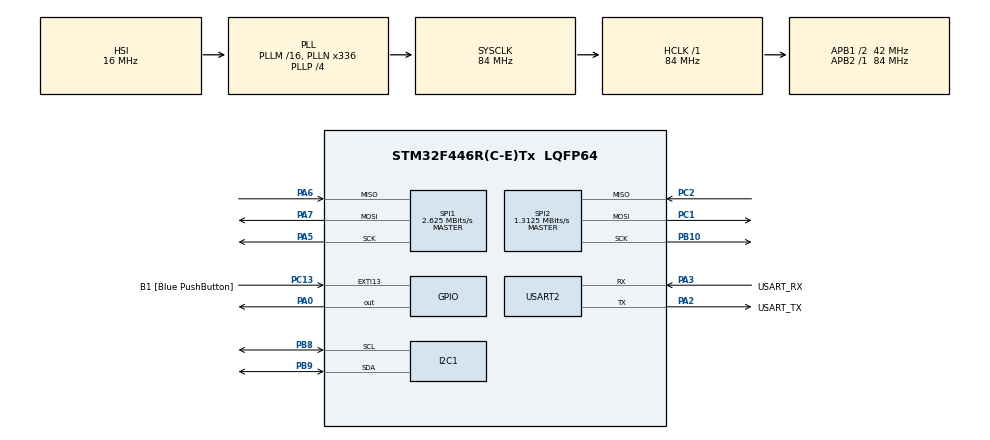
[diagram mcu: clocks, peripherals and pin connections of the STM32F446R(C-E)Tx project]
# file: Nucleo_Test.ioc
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Mcu.Family=STM32F4
Mcu.Name=STM32F446R(C-E)Tx
Mcu.Package=LQFP64
NVIC.EXTI15_10_IRQn=true\:0\:0\:false\:false\:true\:true\:true\:true
NVIC.PriorityGroup=NVIC_PRIORITYGROUP_0
PA0-WKUP.Signal=GPIO_Output
PA13.GPIO_Label=TMS
PA13.Mode=Serial_Wire
PA13.Signal=SYS_JTMS-SWDIO
PA14.GPIO_Label=TCK
PA14.Mode=Serial_Wire
PA14.Signal=SYS_JTCK-SWCLK
PA2.GPIO_Label=USART_TX
PA2.Mode=Asynchronous
PA2.Signal=USART2_TX
PA3.GPIO_Label=USART_RX
PA3.Mode=Asynchronous
PA3.Signal=USART2_RX
PA5.Mode=Full_Duplex_Master
PA5.Signal=SPI1_SCK
PA6.Mode=Full_Duplex_Master
PA6.Signal=SPI1_MISO
PA7.Mode=Full_Duplex_Master
PA7.Signal=SPI1_MOSI
PB10.Mode=Full_Duplex_Master
PB10.Signal=SPI2_SCK
PB3.GPIO_Label=SWO
PB3.Signal=SYS_JTDO-SWO
PB8.Mode=I2C
PB8.Signal=I2C1_SCL
PB9.Mode=I2C
PB9.Signal=I2C1_SDA
PC1.Mode=Full_Duplex_Master
PC1.Signal=SPI2_MOSI
PC13.GPIO_Label=B1 [Blue PushButton]
PC13.GPIO_ModeDefaultEXTI=GPIO_MODE_IT_FALLING
PC13.Signal=GPXTI13
PC14-OSC32_IN.Mode=LSE-External-Oscillator
PC14-OSC32_IN.Signal=RCC_OSC32_IN
PC15-OSC32_OUT.Mode=LSE-External-Oscillator
PC15-OSC32_OUT.Signal=RCC_OSC32_OUT
PC2.Mode=Full_Duplex_Master
PC2.Signal=SPI2_MISO
PH0-OSC_IN.Mode=HSE-External-Oscillator
PH0-OSC_IN.Signal=RCC_OSC_IN
PH1-OSC_OUT.Mode=HSE-External-Oscillator
PH1-OSC_OUT.Signal=RCC_OSC_OUT
ProjectManager.HeapSize=0x200
ProjectManager.StackSize=0x400
ProjectManager.TargetToolchain=STM32CubeIDE
RCC.48MHZClocksFreq_Value=84000000
RCC.AHBFreq_Value=84000000
RCC.APB1CLKDivider=RCC_HCLK_DIV2
RCC.APB1Freq_Value=42000000
RCC.APB1TimFreq_Value=84000000
RCC.APB2Freq_Value=84000000
RCC.APB2TimFreq_Value=84000000
RCC.CortexFreq_Value=84000000
RCC.FLatency-AdvancedSettings=FLASH_LATENCY_2
RCC.HCLKFreq_Value=84000000
RCC.HSE_VALUE=8000000
RCC.HSI_VALUE=16000000
RCC.PLLN=336
RCC.PLLP=RCC_PLLP_DIV4
RCC.SYSCLKFreq_VALUE=84000000
RCC.SYSCLKSource=RCC_SYSCLKSOURCE_PLLCLK
RCC.USBFreq_Value=168000000
RCC.VCOOutputFreq_Value=336000000
SPI1.BaudRatePrescaler=SPI_BAUDRATEPRESCALER_32
SPI1.CLKPhase=SPI_PHASE_2EDGE
SPI1.CLKPolarity=SPI_POLARITY_HIGH
SPI1.CalculateBaudRate=2.625 MBits/s
SPI1.Direction=SPI_DIRECTION_2LINES
SPI1.Mode=SPI_MODE_MASTER
SPI1.VirtualType=VM_MASTER
SPI2.BaudRatePrescaler=SPI_BAUDRATEPRESCALER_32
SPI2.CalculateBaudRate=1.3125 MBits/s
SPI2.Direction=SPI_DIRECTION_2LINES
SPI2.Mode=SPI_MODE_MASTER
SPI2.VirtualType=VM_MASTER
TIM2.AutoReloadPreload=TIM_AUTORELOAD_PRELOAD_ENABLE
TIM2.Period=255
USART2.VirtualMode=VM_ASYNC
VP_TIM2_VS_ClockSourceINT.Mode=Internal
board=NUCLEO-F446RE

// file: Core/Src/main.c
/* USER CODE BEGIN Header */
/**
  ******************************************************************************
  * @file           : main.c
  * @brief          : Main program body
  ******************************************************************************
  * @attention
  *
  * Copyright (c) 2025 STMicroelectronics.
  * All rights reserved.
  *
  * This software is licensed under terms that can be found in the LICENSE file
  * in the root directory of this software component.
  * If no LICENSE file comes with this software, it is provided AS-IS.
  *
  ******************************************************************************
  */
/* USER CODE END Header */
#include "main.h"

/* USER CODE BEGIN PD */
static const uint8_t CTRL1_XL = 0x10;
static const uint8_t CTRL3_C = 0x12;
static const uint8_t OUTL_TEMP = 0x20;
int state;

/* USER CODE END PD */

I2C_HandleTypeDef hi2c1;

SPI_HandleTypeDef hspi1;
SPI_HandleTypeDef hspi2;

TIM_HandleTypeDef htim2;

UART_HandleTypeDef huart2;

void SystemClock_Config(void);
static void MX_GPIO_Init(void);
static void MX_USART2_UART_Init(void);
static void MX_TIM2_Init(void);
static void MX_SPI2_Init(void);
static void MX_SPI1_Init(void);
static void MX_I2C1_Init(void);

/* USER CODE BEGIN 0 */
#define CS_PIN GPIO_PIN_0
#define CS_PORT GPIOA

void LSM6DS0_Write(uint8_t reg, uint8_t data) {
	HAL_GPIO_WritePin(CS_PORT, CS_PIN, GPIO_PIN_RESET);
    uint8_t buf[2] = {reg & 0x7F, data}; // MSB=0 → write
    HAL_SPI_Transmit(&hspi1, buf, 2, 100);
    HAL_GPIO_WritePin(CS_PORT, CS_PIN, GPIO_PIN_SET);
}

void LSM6DS0_Read(uint8_t reg, uint8_t* data, uint8_t len) {
    HAL_GPIO_WritePin(CS_PORT, CS_PIN, GPIO_PIN_RESET);

    uint8_t addr = reg | 0x80; // MSB=1 → read
    if(len > 1) addr |= 0x40;  // auto-increment
    HAL_SPI_Transmit(&hspi1, &addr, 1, HAL_MAX_DELAY);

    for(uint8_t i=0; i<len; i++) {
        uint8_t dummy = 0x00;
        HAL_SPI_TransmitReceive(&hspi1, &dummy, &data[i], 1, HAL_MAX_DELAY);
    }

    HAL_GPIO_WritePin(CS_PORT, CS_PIN, GPIO_PIN_SET);
}

int16_t LSM6DS0_ReadTemp(void) {
    uint8_t buf[2];
    LSM6DS0_Read(OUTL_TEMP, buf, 2);  // read 2 bytes
    return (int16_t)(buf[1] << 8 | buf[0]); // combine L/H bytes
}
/* USER CODE END 0 */

int main(void)
{

  /* USER CODE BEGIN 1 */
  char uart_buf[50];
  int uart_buf_len;
  char spi_buf[20];
  /* USER CODE END 1 */

  /* MCU Configuration--------------------------------------------------------*/

  /* Reset of all peripherals, Initializes the Flash interface and the Systick. */
  HAL_Init();

  /* Configure the system clock */
  SystemClock_Config();

  /* Initialize all configured peripherals */
  MX_GPIO_Init();
  MX_USART2_UART_Init();
  MX_TIM2_Init();
  MX_SPI2_Init();
  MX_SPI1_Init();
  MX_I2C1_Init();
  /* USER CODE BEGIN 2 */
  HAL_GPIO_WritePin(CS_PORT, CS_PIN, GPIO_PIN_SET);
  uart_buf_len = sprintf(uart_buf, "SPI Test\r\n");
  HAL_UART_Transmit(&huart2, uart_buf, uart_buf_len, 100);
  LSM6DS0_Write(CTRL3_C, 0x04);
  LSM6DS0_Write(CTRL1_XL, 0x20);

  /* USER CODE END 2 */

  /* Infinite loop */
  /* USER CODE BEGIN WHILE */
  while (1)
  {
	  uint8_t who_am_i;
	  LSM6DS0_Read(0x0F, &who_am_i, 1);
	  uart_buf_len = sprintf(uart_buf, "WHO_AM_I = 0x%02X\r\n", who_am_i);
	  HAL_UART_Transmit(&huart2, (uint8_t*)uart_buf, uart_buf_len, 100);
	  HAL_Delay(500);
	    int16_t temp_raw = LSM6DS0_ReadTemp();
	    float temp_c = 25.0 + (temp_raw / 16.0);  // datasheet conversion
	    char uart_buf[50];
	    int len = sprintf(uart_buf, "Temp raw: %d, C: %.2f\r\n", temp_raw, temp_c);
	    HAL_UART_Transmit(&huart2, (uint8_t*)uart_buf, len, HAL_MAX_DELAY);
	    HAL_Delay(500);
    /* USER CODE END WHILE */

  }
}

void SystemClock_Config(void)
{
  RCC_OscInitTypeDef RCC_OscInitStruct = {0};
  RCC_ClkInitTypeDef RCC_ClkInitStruct = {0};

  /** Configure the main internal regulator output voltage
  */
  __HAL_RCC_PWR_CLK_ENABLE();
  __HAL_PWR_VOLTAGESCALING_CONFIG(PWR_REGULATOR_VOLTAGE_SCALE3);

  /** Initializes the RCC Oscillators according to the specified parameters
  * in the RCC_OscInitTypeDef structure.
  */
  RCC_OscInitStruct.OscillatorType = RCC_OSCILLATORTYPE_HSI;
  RCC_OscInitStruct.HSIState = RCC_HSI_ON;
  RCC_OscInitStruct.HSICalibrationValue = RCC_HSICALIBRATION_DEFAULT;
  RCC_OscInitStruct.PLL.PLLState = RCC_PLL_ON;
  RCC_OscInitStruct.PLL.PLLSource = RCC_PLLSOURCE_HSI;
  RCC_OscInitStruct.PLL.PLLM = 16;
  RCC_OscInitStruct.PLL.PLLN = 336;
  RCC_OscInitStruct.PLL.PLLP = RCC_PLLP_DIV4;
  RCC_OscInitStruct.PLL.PLLQ = 2;
  RCC_OscInitStruct.PLL.PLLR = 2;
  if (HAL_RCC_OscConfig(&RCC_OscInitStruct) != HAL_OK)
  {
    Error_Handler();
  }

  /** Initializes the CPU, AHB and APB buses clocks
  */
  RCC_ClkInitStruct.ClockType = RCC_CLOCKTYPE_HCLK|RCC_CLOCKTYPE_SYSCLK
                              |RCC_CLOCKTYPE_PCLK1|RCC_CLOCKTYPE_PCLK2;
  RCC_ClkInitStruct.SYSCLKSource = RCC_SYSCLKSOURCE_PLLCLK;
  RCC_ClkInitStruct.AHBCLKDivider = RCC_SYSCLK_DIV1;
  RCC_ClkInitStruct.APB1CLKDivider = RCC_HCLK_DIV2;
  RCC_ClkInitStruct.APB2CLKDivider = RCC_HCLK_DIV1;

  if (HAL_RCC_ClockConfig(&RCC_ClkInitStruct, FLASH_LATENCY_2) != HAL_OK)
  {
    Error_Handler();
  }
}

static void MX_I2C1_Init(void)
{

  hi2c1.Instance = I2C1;
  hi2c1.Init.ClockSpeed = 100000;
  hi2c1.Init.DutyCycle = I2C_DUTYCYCLE_2;
  hi2c1.Init.OwnAddress1 = 0;
  hi2c1.Init.AddressingMode = I2C_ADDRESSINGMODE_7BIT;
  hi2c1.Init.DualAddressMode = I2C_DUALADDRESS_DISABLE;
  hi2c1.Init.OwnAddress2 = 0;
  hi2c1.Init.GeneralCallMode = I2C_GENERALCALL_DISABLE;
  hi2c1.Init.NoStretchMode = I2C_NOSTRETCH_DISABLE;
  if (HAL_I2C_Init(&hi2c1) != HAL_OK)
  {
    Error_Handler();
  }

}

static void MX_SPI1_Init(void)
{

  /* SPI1 parameter configuration*/
  hspi1.Instance = SPI1;
  hspi1.Init.Mode = SPI_MODE_MASTER;
  hspi1.Init.Direction = SPI_DIRECTION_2LINES;
  hspi1.Init.DataSize = SPI_DATASIZE_8BIT;
  hspi1.Init.CLKPolarity = SPI_POLARITY_HIGH;
  hspi1.Init.CLKPhase = SPI_PHASE_2EDGE;
  hspi1.Init.NSS = SPI_NSS_SOFT;
  hspi1.Init.BaudRatePrescaler = SPI_BAUDRATEPRESCALER_32;
  hspi1.Init.FirstBit = SPI_FIRSTBIT_MSB;
  hspi1.Init.TIMode = SPI_TIMODE_DISABLE;
  hspi1.Init.CRCCalculation = SPI_CRCCALCULATION_DISABLE;
  hspi1.Init.CRCPolynomial = 10;
  if (HAL_SPI_Init(&hspi1) != HAL_OK)
  {
    Error_Handler();
  }

}

static void MX_SPI2_Init(void)
{

  /* SPI2 parameter configuration*/
  hspi2.Instance = SPI2;
  hspi2.Init.Mode = SPI_MODE_MASTER;
  hspi2.Init.Direction = SPI_DIRECTION_2LINES;
  hspi2.Init.DataSize = SPI_DATASIZE_8BIT;
  hspi2.Init.CLKPolarity = SPI_POLARITY_LOW;
  hspi2.Init.CLKPhase = SPI_PHASE_1EDGE;
  hspi2.Init.NSS = SPI_NSS_SOFT;
  hspi2.Init.BaudRatePrescaler = SPI_BAUDRATEPRESCALER_32;
  hspi2.Init.FirstBit = SPI_FIRSTBIT_MSB;
  hspi2.Init.TIMode = SPI_TIMODE_DISABLE;
  hspi2.Init.CRCCalculation = SPI_CRCCALCULATION_DISABLE;
  hspi2.Init.CRCPolynomial = 10;
  if (HAL_SPI_Init(&hspi2) != HAL_OK)
  {
    Error_Handler();
  }

}

static void MX_TIM2_Init(void)
{

  TIM_ClockConfigTypeDef sClockSourceConfig = {0};
  TIM_MasterConfigTypeDef sMasterConfig = {0};

  htim2.Instance = TIM2;
  htim2.Init.Prescaler = 0;
  htim2.Init.CounterMode = TIM_COUNTERMODE_UP;
  htim2.Init.Period = 255;
  htim2.Init.ClockDivision = TIM_CLOCKDIVISION_DIV1;
  htim2.Init.AutoReloadPreload = TIM_AUTORELOAD_PRELOAD_ENABLE;
  if (HAL_TIM_Base_Init(&htim2) != HAL_OK)
  {
    Error_Handler();
  }
  sClockSourceConfig.ClockSource = TIM_CLOCKSOURCE_INTERNAL;
  if (HAL_TIM_ConfigClockSource(&htim2, &sClockSourceConfig) != HAL_OK)
  {
    Error_Handler();
  }
  sMasterConfig.MasterOutputTrigger = TIM_TRGO_RESET;
  sMasterConfig.MasterSlaveMode = TIM_MASTERSLAVEMODE_DISABLE;
  if (HAL_TIMEx_MasterConfigSynchronization(&htim2, &sMasterConfig) != HAL_OK)
  {
    Error_Handler();
  }

}

static void MX_USART2_UART_Init(void)
{

  huart2.Instance = USART2;
  huart2.Init.BaudRate = 115200;
  huart2.Init.WordLength = UART_WORDLENGTH_8B;
  huart2.Init.StopBits = UART_STOPBITS_1;
  huart2.Init.Parity = UART_PARITY_NONE;
  huart2.Init.Mode = UART_MODE_TX_RX;
  huart2.Init.HwFlowCtl = UART_HWCONTROL_NONE;
  huart2.Init.OverSampling = UART_OVERSAMPLING_16;
  if (HAL_UART_Init(&huart2) != HAL_OK)
  {
    Error_Handler();
  }

}

static void MX_GPIO_Init(void)
{
  GPIO_InitTypeDef GPIO_InitStruct = {0};

  /* GPIO Ports Clock Enable */
  __HAL_RCC_GPIOC_CLK_ENABLE();
  __HAL_RCC_GPIOH_CLK_ENABLE();
  __HAL_RCC_GPIOA_CLK_ENABLE();
  __HAL_RCC_GPIOB_CLK_ENABLE();

  /*Configure GPIO pin Output Level */
  HAL_GPIO_WritePin(GPIOA, GPIO_PIN_0, GPIO_PIN_RESET);

  /*Configure GPIO pin : B1_Pin */
  GPIO_InitStruct.Pin = B1_Pin;
  GPIO_InitStruct.Mode = GPIO_MODE_IT_FALLING;
  GPIO_InitStruct.Pull = GPIO_NOPULL;
  HAL_GPIO_Init(B1_GPIO_Port, &GPIO_InitStruct);

  /*Configure GPIO pin : PA0 */
  GPIO_InitStruct.Pin = GPIO_PIN_0;
  GPIO_InitStruct.Mode = GPIO_MODE_OUTPUT_PP;
  GPIO_InitStruct.Pull = GPIO_NOPULL;
  GPIO_InitStruct.Speed = GPIO_SPEED_FREQ_LOW;
  HAL_GPIO_Init(GPIOA, &GPIO_InitStruct);

  /* EXTI interrupt init*/
  HAL_NVIC_SetPriority(EXTI15_10_IRQn, 0, 0);
  HAL_NVIC_EnableIRQ(EXTI15_10_IRQn);

}

/* USER CODE BEGIN 4 */
void HAL_GPIO_EXTI_Callback(uint16_t GPIO_Pin)
{

 if(state == 0){
	 state = 1;
 } else if (state == 1){
	 state = 2;
 } else{
	 state = 0;
 }

}

/* USER CODE END 4 */

void Error_Handler(void)
{
  __disable_irq();
  while (1)
  {
  }
}
